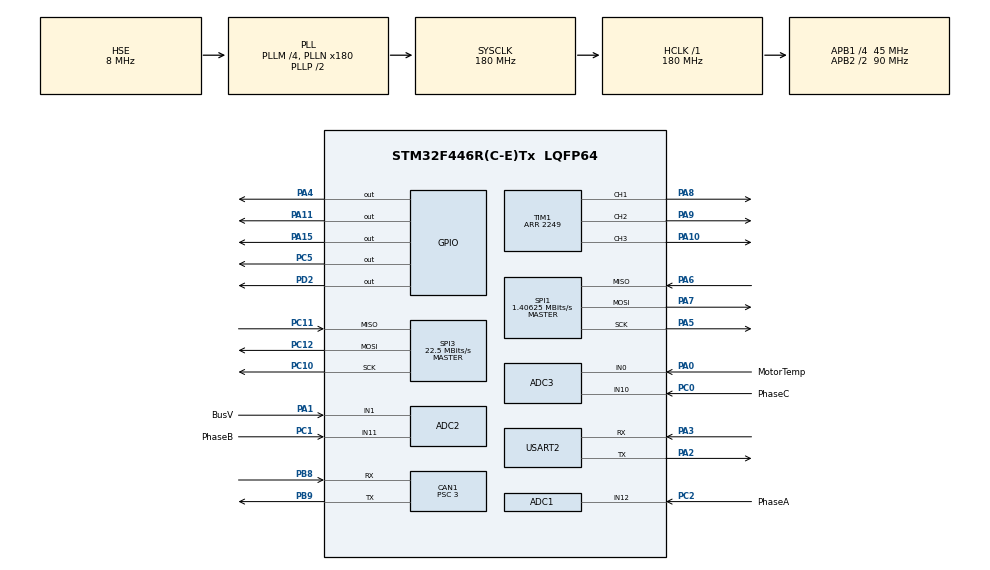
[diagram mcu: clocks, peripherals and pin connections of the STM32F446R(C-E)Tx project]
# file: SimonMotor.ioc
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ADC1.Channel-2\#ChannelRegularConversion=ADC_CHANNEL_12
ADC1.Channel-3\#ChannelInjectedConversion=ADC_CHANNEL_12
ADC1.ExternalTrigInjecConv=ADC_EXTERNALTRIGINJECCONV_T1_CC4
ADC1.ExternalTrigInjecConvEdge=ADC_EXTERNALTRIGINJECCONVEDGE_FALLING
ADC1.InjNumberOfConversion=1
ADC1.InjectedOffset-3\#ChannelInjectedConversion=0
ADC1.InjectedRank-3\#ChannelInjectedConversion=1
ADC1.Mode=ADC_TRIPLEMODE_INJECSIMULT
ADC1.NbrOfConversionFlag=1
ADC1.Rank-2\#ChannelRegularConversion=1
ADC1.SamplingTime-2\#ChannelRegularConversion=ADC_SAMPLETIME_3CYCLES
ADC1.SamplingTime-3\#ChannelInjectedConversion=ADC_SAMPLETIME_3CYCLES
ADC1.master=1
ADC2.Channel-0\#ChannelRegularConversion=ADC_CHANNEL_11
ADC2.Channel-1\#ChannelInjectedConversion=ADC_CHANNEL_11
ADC2.Channel-2\#ChannelInjectedConversion=ADC_CHANNEL_1
ADC2.InjNumberOfConversion=2
ADC2.InjectedOffset-1\#ChannelInjectedConversion=0
ADC2.InjectedOffset-2\#ChannelInjectedConversion=0
ADC2.InjectedRank-1\#ChannelInjectedConversion=1
ADC2.InjectedRank-2\#ChannelInjectedConversion=2
ADC2.Mode=ADC_TRIPLEMODE_INJECSIMULT
ADC2.NbrOfConversionFlag=1
ADC2.Rank-0\#ChannelRegularConversion=1
ADC2.SamplingTime-0\#ChannelRegularConversion=ADC_SAMPLETIME_3CYCLES
ADC2.SamplingTime-1\#ChannelInjectedConversion=ADC_SAMPLETIME_3CYCLES
ADC2.SamplingTime-2\#ChannelInjectedConversion=ADC_SAMPLETIME_3CYCLES
ADC3.Channel-0\#ChannelRegularConversion=ADC_CHANNEL_0
ADC3.Channel-1\#ChannelInjectedConversion=ADC_CHANNEL_10
ADC3.Channel-2\#ChannelInjectedConversion=ADC_CHANNEL_0
ADC3.InjNumberOfConversion=2
ADC3.InjectedOffset-1\#ChannelInjectedConversion=0
ADC3.InjectedOffset-2\#ChannelInjectedConversion=0
ADC3.InjectedRank-1\#ChannelInjectedConversion=1
ADC3.InjectedRank-2\#ChannelInjectedConversion=2
ADC3.NbrOfConversionFlag=1
ADC3.Rank-0\#ChannelRegularConversion=1
ADC3.SamplingTime-0\#ChannelRegularConversion=ADC_SAMPLETIME_3CYCLES
ADC3.SamplingTime-1\#ChannelInjectedConversion=ADC_SAMPLETIME_15CYCLES
ADC3.SamplingTime-2\#ChannelInjectedConversion=ADC_SAMPLETIME_3CYCLES
CAN1.BS1=CAN_BS1_12TQ
CAN1.BS2=CAN_BS2_2TQ
CAN1.CalculateBaudRate=1000000
CAN1.CalculateTimeBit=1000
CAN1.CalculateTimeQuantum=66.66666666666666
CAN1.Prescaler=3
Dma.Request0=SPI3_RX
Dma.Request1=SPI3_TX
Dma.SPI3_RX.0.Direction=DMA_PERIPH_TO_MEMORY
Dma.SPI3_RX.0.FIFOMode=DMA_FIFOMODE_DISABLE
Dma.SPI3_RX.0.Instance=DMA1_Stream0
Dma.SPI3_RX.0.MemDataAlignment=DMA_MDATAALIGN_HALFWORD
Dma.SPI3_RX.0.MemInc=DMA_MINC_ENABLE
Dma.SPI3_RX.0.Mode=DMA_NORMAL
Dma.SPI3_RX.0.PeriphDataAlignment=DMA_PDATAALIGN_HALFWORD
Dma.SPI3_RX.0.PeriphInc=DMA_PINC_DISABLE
Dma.SPI3_RX.0.Priority=DMA_PRIORITY_HIGH
Dma.SPI3_TX.1.Direction=DMA_MEMORY_TO_PERIPH
Dma.SPI3_TX.1.FIFOMode=DMA_FIFOMODE_DISABLE
Dma.SPI3_TX.1.Instance=DMA1_Stream5
Dma.SPI3_TX.1.MemDataAlignment=DMA_MDATAALIGN_HALFWORD
Dma.SPI3_TX.1.MemInc=DMA_MINC_ENABLE
Dma.SPI3_TX.1.Mode=DMA_NORMAL
Dma.SPI3_TX.1.PeriphDataAlignment=DMA_PDATAALIGN_HALFWORD
Dma.SPI3_TX.1.PeriphInc=DMA_PINC_DISABLE
Dma.SPI3_TX.1.Priority=DMA_PRIORITY_LOW
FREERTOS.Tasks01=motorMgrTask,24,512,startMotorMgrTask,Default,NULL,Dynamic,NULL,NULL;flashWritingTas,8,128,startFlashWritingTask,Default,NULL,Dynamic,NULL,NULL
Mcu.Family=STM32F4
Mcu.Name=STM32F446R(C-E)Tx
Mcu.Package=LQFP64
NVIC.ADC_IRQn=true\:5\:0\:false\:false\:true\:true\:true\:true\:true
NVIC.CAN1_RX0_IRQn=true\:5\:0\:true\:false\:true\:true\:true\:true\:true
NVIC.DMA1_Stream0_IRQn=true\:5\:0\:false\:false\:true\:true\:false\:true\:true
NVIC.DMA1_Stream5_IRQn=true\:5\:0\:false\:false\:true\:true\:false\:true\:true
NVIC.PriorityGroup=NVIC_PRIORITYGROUP_4
NVIC.TIM6_DAC_IRQn=true\:15\:0\:false\:false\:true\:false\:false\:true\:true
NVIC.TimeBase=TIM6_DAC_IRQn
NVIC.TimeBaseIP=TIM6
PA0-WKUP.GPIO_Label=MotorTemp
PA0-WKUP.Signal=ADCx_IN0
PA1.GPIO_Label=BusV
PA1.Signal=ADCx_IN1
PA10.GPIO_Speed=GPIO_SPEED_FREQ_VERY_HIGH
PA10.Signal=S_TIM1_CH3
PA11.GPIO_Speed=GPIO_SPEED_FREQ_VERY_HIGH
PA11.Signal=GPIO_Output
PA13.Mode=Serial_Wire
PA13.Signal=SYS_JTMS-SWDIO
PA14.Mode=Serial_Wire
PA14.Signal=SYS_JTCK-SWCLK
PA15.GPIO_Speed=GPIO_SPEED_FREQ_VERY_HIGH
PA15.Signal=GPIO_Output
PA2.Mode=Asynchronous
PA2.Signal=USART2_TX
PA3.Mode=Asynchronous
PA3.Signal=USART2_RX
PA4.GPIO_Speed=GPIO_SPEED_FREQ_VERY_HIGH
PA4.Signal=GPIO_Output
PA5.Mode=Full_Duplex_Master
PA5.Signal=SPI1_SCK
PA6.Mode=Full_Duplex_Master
PA6.Signal=SPI1_MISO
PA7.Mode=Full_Duplex_Master
PA7.Signal=SPI1_MOSI
PA8.GPIO_Speed=GPIO_SPEED_FREQ_VERY_HIGH
PA8.Signal=S_TIM1_CH1
PA9.GPIO_Speed=GPIO_SPEED_FREQ_VERY_HIGH
PA9.Signal=S_TIM1_CH2
PB8.Mode=CAN_Activate
PB8.Signal=CAN1_RX
PB9.Mode=CAN_Activate
PB9.Signal=CAN1_TX
PC0.GPIO_Label=PhaseC
PC0.Signal=ADCx_IN10
PC1.GPIO_Label=PhaseB
PC1.Signal=ADCx_IN11
PC10.Mode=Full_Duplex_Master
PC10.Signal=SPI3_SCK
PC11.Mode=Full_Duplex_Master
PC11.Signal=SPI3_MISO
PC12.Mode=Full_Duplex_Master
PC12.Signal=SPI3_MOSI
PC2.GPIO_Label=PhaseA
PC2.Signal=ADCx_IN12
PC5.GPIO_Speed=GPIO_SPEED_FREQ_VERY_HIGH
PC5.Signal=GPIO_Output
PD2.GPIO_Speed=GPIO_SPEED_FREQ_VERY_HIGH
PD2.Signal=GPIO_Output
PH0-OSC_IN.Mode=HSE-External-Oscillator
PH0-OSC_IN.Signal=RCC_OSC_IN
PH1-OSC_OUT.Mode=HSE-External-Oscillator
PH1-OSC_OUT.Signal=RCC_OSC_OUT
ProjectManager.HeapSize=0x200
ProjectManager.StackSize=0x400
ProjectManager.TargetToolchain=CMake
RCC.AHBFreq_Value=180000000
RCC.APB1CLKDivider=RCC_HCLK_DIV4
RCC.APB1Freq_Value=45000000
RCC.APB1TimFreq_Value=90000000
RCC.APB2CLKDivider=RCC_HCLK_DIV2
RCC.APB2Freq_Value=90000000
RCC.APB2TimFreq_Value=180000000
RCC.CortexFreq_Value=180000000
RCC.HCLKFreq_Value=180000000
RCC.HSE_VALUE=8000000
RCC.PLLM=4
RCC.PLLN=180
RCC.PLLSourceVirtual=RCC_PLLSOURCE_HSE
RCC.SYSCLKFreq_VALUE=180000000
RCC.SYSCLKSource=RCC_SYSCLKSOURCE_PLLCLK
RCC.USBFreq_Value=180000000
RCC.VCOOutputFreq_Value=360000000
SH.ADCx_IN0.0=ADC3_IN0,IN0
SH.ADCx_IN1.0=ADC2_IN1,IN1
SH.ADCx_IN10.0=ADC3_IN10,IN10
SH.ADCx_IN11.0=ADC2_IN11,IN11
SH.ADCx_IN12.0=ADC1_IN12,IN12
SH.S_TIM1_CH1.0=TIM1_CH1,PWM Generation1 CH1
SH.S_TIM1_CH2.0=TIM1_CH2,PWM Generation2 CH2
SH.S_TIM1_CH3.0=TIM1_CH3,PWM Generation3 CH3
SPI1.BaudRatePrescaler=SPI_BAUDRATEPRESCALER_64
SPI1.CLKPhase=SPI_PHASE_2EDGE
SPI1.CalculateBaudRate=1.40625 MBits/s
SPI1.DataSize=SPI_DATASIZE_16BIT
SPI1.Direction=SPI_DIRECTION_2LINES
SPI1.Mode=SPI_MODE_MASTER
SPI1.VirtualType=VM_MASTER
SPI3.BaudRatePrescaler=SPI_BAUDRATEPRESCALER_2
SPI3.CalculateBaudRate=22.5 MBits/s
SPI3.DataSize=SPI_DATASIZE_16BIT
SPI3.Direction=SPI_DIRECTION_2LINES
SPI3.Mode=SPI_MODE_MASTER
SPI3.VirtualType=VM_MASTER
TIM1.AutoReloadPreload=TIM_AUTORELOAD_PRELOAD_ENABLE
TIM1.Channel-PWM\ Generation1\ CH1=TIM_CHANNEL_1
TIM1.Channel-PWM\ Generation2\ CH2=TIM_CHANNEL_2
TIM1.Channel-PWM\ Generation3\ CH3=TIM_CHANNEL_3
TIM1.Channel-PWM\ Generation4\ No\ Output=TIM_CHANNEL_4
TIM1.CounterMode=TIM_COUNTERMODE_CENTERALIGNED1
TIM1.OCFastMode_PWM-PWM\ Generation1\ CH1=TIM_OCFAST_ENABLE
TIM1.OCFastMode_PWM-PWM\ Generation2\ CH2=TIM_OCFAST_ENABLE
TIM1.OCFastMode_PWM-PWM\ Generation3\ CH3=TIM_OCFAST_ENABLE
TIM1.OCFastMode_PWM-PWM\ Generation4\ No\ Output=TIM_OCFAST_ENABLE
TIM1.Period=2249
TIM1.TIM_MasterOutputTrigger=TIM_TRGO_RESET
USART2.VirtualMode=VM_ASYNC
VP_FREERTOS_VS_CMSIS_V2.Mode=CMSIS_V2
VP_SYS_VS_tim6.Mode=TIM6
VP_TIM1_VS_ClockSourceINT.Mode=Internal
VP_TIM1_VS_no_output4.Mode=PWM Generation4 No Output
board=custom

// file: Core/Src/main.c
/* USER CODE BEGIN Header */
/**
  ******************************************************************************
  * @file           : main.c
  * @brief          : Main program body
  ******************************************************************************
  * @attention
  *
  * Copyright (c) 2026 STMicroelectronics.
  * All rights reserved.
  *
  * This software is licensed under terms that can be found in the LICENSE file
  * in the root directory of this software component.
  * If no LICENSE file comes with this software, it is provided AS-IS.
  *
  ******************************************************************************
  */
/* USER CODE END Header */
#include "main.h"
#include "cmsis_os.h"
#include "adc.h"
#include "can.h"
#include "dma.h"
#include "spi.h"
#include "tim.h"
#include "usart.h"
#include "gpio.h"

/* USER CODE BEGIN Includes */
#include <stdio.h>
#include <math.h>
#include "user_config.h"
#include "preference_writer.h"
#include "PMSM_motor.h"
#include "foc_calibration.h"
#include "fsm.h"
/* USER CODE END Includes */

/* USER CODE BEGIN PV */
float __float_reg[FLOAT_REG_SIZE];
int __int_reg[INT_REG_SIZE];
PreferenceWriter prefs;

PMSM_motor motor;
CalStruct hcal;

/* FOC loop timing instrumentation (DWT cycle counter) */
volatile uint32_t foc_loop_cycles_min = 0xFFFFFFFFu;
volatile uint32_t foc_loop_cycles_max = 0;
volatile uint32_t foc_loop_cycles_sum = 0;
volatile uint32_t foc_loop_cycles_count = 0;

/* USER CODE END PV */

void SystemClock_Config(void);
void MX_FREERTOS_Init(void);

int main(void)
{

  /* MCU Configuration--------------------------------------------------------*/

  /* Reset of all peripherals, Initializes the Flash interface and the Systick. */
  HAL_Init();

  /* USER CODE BEGIN Init */
  /* Config lives in the LAST flash sector. Sector 5 (0x08020000, 128K) is the
   * last one on the 256K STM32F446RC; it also exists on the 512K RE, so one
   * layout serves both. The linker caps code at 128K (sectors 0-4) so the
   * image can never grow into the config sector. */
  preference_writer_init(&prefs, 5);
  preference_writer_load(prefs);
  user_config_apply_defaults();
  // user_config_set_defaults();

  /* USER CODE END Init */

  /* Configure the system clock */
  SystemClock_Config();

  /* USER CODE BEGIN SysInit */
  /* Enable DWT cycle counter for FOC-loop timing instrumentation */
  CoreDebug->DEMCR |= CoreDebug_DEMCR_TRCENA_Msk;
  DWT->CYCCNT = 0;
  DWT->CTRL  |= DWT_CTRL_CYCCNTENA_Msk;

  /* USER CODE END SysInit */

  /* Initialize all configured peripherals */
  MX_GPIO_Init();
  MX_DMA_Init();
  MX_ADC1_Init();
  MX_ADC2_Init();
  MX_ADC3_Init();
  MX_CAN1_Init();
  MX_SPI1_Init();
  MX_SPI3_Init();
  MX_TIM1_Init();
  MX_USART2_UART_Init();
  /* USER CODE BEGIN 2 */

  /* CAN setup */
  init_can_rx_filter();
  HAL_CAN_Start(&CAN_H); //  Start CAN peripheral
  HAL_CAN_ActivateNotification(&hcan1, CAN_IT_RX_FIFO0_MSG_PENDING);

  motor_init(&motor);

  /* USER CODE END 2 */

  /* Init scheduler */
  osKernelInitialize();  /* Call init function for freertos objects (in cmsis_os2.c) */
  MX_FREERTOS_Init();

  /* Start scheduler */
  osKernelStart();

  /* We should never get here as control is now taken by the scheduler */

  /* Infinite loop */
  while (1)
  {

  }
}

void SystemClock_Config(void)
{
  RCC_OscInitTypeDef RCC_OscInitStruct = {0};
  RCC_ClkInitTypeDef RCC_ClkInitStruct = {0};

  /** Configure the main internal regulator output voltage
  */
  __HAL_RCC_PWR_CLK_ENABLE();
  __HAL_PWR_VOLTAGESCALING_CONFIG(PWR_REGULATOR_VOLTAGE_SCALE1);

  /** Initializes the RCC Oscillators according to the specified parameters
  * in the RCC_OscInitTypeDef structure.
  */
  RCC_OscInitStruct.OscillatorType = RCC_OSCILLATORTYPE_HSE;
  RCC_OscInitStruct.HSEState = RCC_HSE_ON;
  RCC_OscInitStruct.PLL.PLLState = RCC_PLL_ON;
  RCC_OscInitStruct.PLL.PLLSource = RCC_PLLSOURCE_HSE;
  RCC_OscInitStruct.PLL.PLLM = 4;
  RCC_OscInitStruct.PLL.PLLN = 180;
  RCC_OscInitStruct.PLL.PLLP = RCC_PLLP_DIV2;
  RCC_OscInitStruct.PLL.PLLQ = 2;
  RCC_OscInitStruct.PLL.PLLR = 2;
  if (HAL_RCC_OscConfig(&RCC_OscInitStruct) != HAL_OK)
  {
    Error_Handler();
  }

  /** Activate the Over-Drive mode
  */
  if (HAL_PWREx_EnableOverDrive() != HAL_OK)
  {
    Error_Handler();
  }

  /** Initializes the CPU, AHB and APB buses clocks
  */
  RCC_ClkInitStruct.ClockType = RCC_CLOCKTYPE_HCLK|RCC_CLOCKTYPE_SYSCLK
                              |RCC_CLOCKTYPE_PCLK1|RCC_CLOCKTYPE_PCLK2;
  RCC_ClkInitStruct.SYSCLKSource = RCC_SYSCLKSOURCE_PLLCLK;
  RCC_ClkInitStruct.AHBCLKDivider = RCC_SYSCLK_DIV1;
  RCC_ClkInitStruct.APB1CLKDivider = RCC_HCLK_DIV4;
  RCC_ClkInitStruct.APB2CLKDivider = RCC_HCLK_DIV2;

  if (HAL_RCC_ClockConfig(&RCC_ClkInitStruct, FLASH_LATENCY_5) != HAL_OK)
  {
    Error_Handler();
  }
}

/* USER CODE BEGIN 4 */

void HAL_SPI_TxRxCpltCallback(SPI_HandleTypeDef *hspi)
{
  if (hspi->Instance == ENC_SPI.Instance)
  {
    encoder_get_rad(&motor.angle_sensor);
    motor.angle_sensor.encd_get_val_flag = 1;
    motor.angle_sensor.stale_counter     = 0;
  }
}

void HAL_SPI_ErrorCallback(SPI_HandleTypeDef *hspi)
{
  if (hspi->Instance == ENC_SPI.Instance)
  {
    HAL_GPIO_WritePin(ENC_CS_INT, GPIO_PIN_SET);
    HAL_GPIO_WritePin(ENC_CS_EXT, GPIO_PIN_SET);
    /* HAL has reset the SPI to READY; re-arm the pump so the next FOC cycle
     * retries instead of freezing on a stale angle. */
    motor.angle_sensor.encd_get_val_flag = 1;
  }
}

void HAL_ADCEx_InjectedConvCpltCallback(ADC_HandleTypeDef* hadc) {
	if (hadc->Instance == ADC1) {
  }
	if (hadc->Instance == ADC2) {
  }
	if (hadc->Instance == ADC3) {
    // Don't trigger anything on the callbacks for ADC1 and ADC2.
    // We want to wait to do any work until we're sure we have info from
    // all three ADCs.
    CurrentSensor_sample_offset(&motor.current_sensor);

    uint32_t cyc_start = DWT->CYCCNT;

    run_fsm(&motor.fsm);

    uint32_t cycles = DWT->CYCCNT - cyc_start;
    if (cycles < foc_loop_cycles_min) foc_loop_cycles_min = cycles;
    if (cycles > foc_loop_cycles_max) foc_loop_cycles_max = cycles;
    foc_loop_cycles_sum += cycles;
    foc_loop_cycles_count++;
	}

}
/* USER CODE END 4 */

void HAL_TIM_PeriodElapsedCallback(TIM_HandleTypeDef *htim)
{
  if (htim->Instance == TIM6)
  {
    HAL_IncTick();
  }
}

void Error_Handler(void)
{
  __disable_irq();
  while (1)
  {
  }
}

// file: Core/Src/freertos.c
/* USER CODE BEGIN Header */
/**
  ******************************************************************************
  * File Name          : freertos.c
  * Description        : Code for freertos applications
  ******************************************************************************
  * @attention
  *
  * Copyright (c) 2026 STMicroelectronics.
  * All rights reserved.
  *
  * This software is licensed under terms that can be found in the LICENSE file
  * in the root directory of this software component.
  * If no LICENSE file comes with this software, it is provided AS-IS.
  *
  ******************************************************************************
  */
/* USER CODE END Header */

#include "FreeRTOS.h"
#include "task.h"
#include "main.h"
#include "cmsis_os.h"

/* USER CODE BEGIN Includes */
#include "PMSM_motor.h"
#include "foc_calibration.h"
#include "fsm.h"
#include "angle_sensor.h"
#include "analog_sensor.h"
#include "user_config.h"
#include "preference_writer.h"
#include "drv8353.h"
#include "can.h"
#include <stdio.h>
#include <string.h>
/* USER CODE END Includes */

/* USER CODE BEGIN Variables */
extern PMSM_motor       motor;
extern CalStruct        hcal;
extern PreferenceWriter prefs;

/* FOC loop timing instrumentation (set in HAL_ADCEx_InjectedConvCpltCallback) */
extern volatile uint32_t foc_loop_cycles_min;
extern volatile uint32_t foc_loop_cycles_max;
extern volatile uint32_t foc_loop_cycles_sum;
extern volatile uint32_t foc_loop_cycles_count;

static osSemaphoreId_t flash_write_sem;
/* USER CODE END Variables */
/* Definitions for motorMgrTask */
osThreadId_t motorMgrTaskHandle;
const osThreadAttr_t motorMgrTask_attributes = {
  .name = "motorMgrTask",
  .stack_size = 512 * 4,
  .priority = (osPriority_t) osPriorityNormal,
};
/* Definitions for flashWritingTas */
osThreadId_t flashWritingTasHandle;
const osThreadAttr_t flashWritingTas_attributes = {
  .name = "flashWritingTas",
  .stack_size = 128 * 4,
  .priority = (osPriority_t) osPriorityLow,
};

void startMotorMgrTask(void *argument);
void startFlashWritingTask(void *argument);

void MX_FREERTOS_Init(void); /* (MISRA C 2004 rule 8.1) */

void MX_FREERTOS_Init(void) {

  /* USER CODE BEGIN RTOS_SEMAPHORES */
  flash_write_sem = osSemaphoreNew(1, 0, NULL);
  /* USER CODE END RTOS_SEMAPHORES */

  /* Create the thread(s) */
  /* creation of motorMgrTask */
  motorMgrTaskHandle = osThreadNew(startMotorMgrTask, NULL, &motorMgrTask_attributes);

  /* creation of flashWritingTas */
  flashWritingTasHandle = osThreadNew(startFlashWritingTask, NULL, &flashWritingTas_attributes);

}

void startMotorMgrTask(void *argument)
{
  /* USER CODE BEGIN startMotorMgrTask */
  uint32_t timing_report_counter = 0;
  uint32_t temp_update_counter   = 0;
  for (;;)
  {
    osDelay(10);

    if (++temp_update_counter >= 100) {
      temp_update_counter = 0;
      update_temperature(&motor.motor_temp);
    }

    /* Print FOC-loop (run_fsm) timing stats once per 5 seconds, then reset */
    if (++timing_report_counter >= 500) {
      timing_report_counter = 0;
      float us_per_cycle = 1.0e6f / (float)SystemCoreClock;
      uint32_t cnt = foc_loop_cycles_count;
      if (cnt > 0) {
        printf("FOC loop:     min=%.2fus max=%.2fus avg=%.2fus (n=%lu)\r\n",
               foc_loop_cycles_min * us_per_cycle,
               foc_loop_cycles_max * us_per_cycle,
               (foc_loop_cycles_sum / (float)cnt) * us_per_cycle,
               (unsigned long)cnt);
        foc_loop_cycles_min   = 0xFFFFFFFFu;
        foc_loop_cycles_max   = 0;
        foc_loop_cycles_sum   = 0;
        foc_loop_cycles_count = 0;
      }
      drv_print_faults(motor.gateDriver);
    }

    if (pending_save) {
      pending_save = 0;
      osSemaphoreRelease(flash_write_sem);
    }

    if (motor.fsm.curr_state == SET_ZERO_MODE) {
      angle_sensor_set_m_zero(&motor.angle_sensor);
      CFG_M_ZERO_RAD = motor.angle_sensor.m_zero;
      osSemaphoreRelease(flash_write_sem);
      printf("Mechanical zero set: m_zero=%.4f rad\r\n", motor.angle_sensor.m_zero);
      motor.fsm.next_state = MENU_MODE;
    }

    if (hcal.cal_state == CAL_STATE_LUT_POSTPROC_PENDING) {
      foc_cal_lut_postprocess(&motor, &hcal);
      memcpy(&CFG_ENCODER_LUT, motor.angle_sensor.encd_error_comp,
             sizeof(motor.angle_sensor.encd_error_comp));
      CFG_E_ZERO_RAD   = motor.angle_sensor.e_zero;
      CFG_PHASE_ORDER = motor.angle_sensor.sensor_dir;
      CFG_PPAIRS = motor.angle_sensor.pole_pairs;
      CFG_CALIBRATION_DONE_FLAG = 1;
      osSemaphoreRelease(flash_write_sem);
      printf("LUT calibration complete, saved to flash\r\n");
    }

    if (motor.fsm.curr_state == ENCODER_MODE) {
      // printf("m_angle_raw:  %.4f rad\r\n", motor.angle_sensor.s_rotor_rad_raw);
      printf("mech_angle_rad: %.4f rad\r\n", motor.angle_sensor.mech_angle_rad);
    }

  }
  /* USER CODE END startMotorMgrTask */
}

void startFlashWritingTask(void *argument)
{
  /* USER CODE BEGIN startFlashWritingTask */
  for (;;)
  {
    // Block indefinitely until motor_mgr_task signals that flash needs updating
    osSemaphoreAcquire(flash_write_sem, osWaitForever);
    if (!preference_writer_ready(prefs)) { preference_writer_open(&prefs); }
    preference_writer_flush(&prefs);
    preference_writer_close(&prefs);
    preference_writer_load(prefs);
    /* Reboot only after the write is durably committed, so init-consumed params
     * (encoder select) are picked up by a fresh motor_init. Safe because param
     * writes are only accepted in MENU_MODE, i.e. the motor is not driving. */
    if (pending_reboot) {
      pending_reboot = 0;
      NVIC_SystemReset();
    }
  }
  /* USER CODE END startFlashWritingTask */
}
